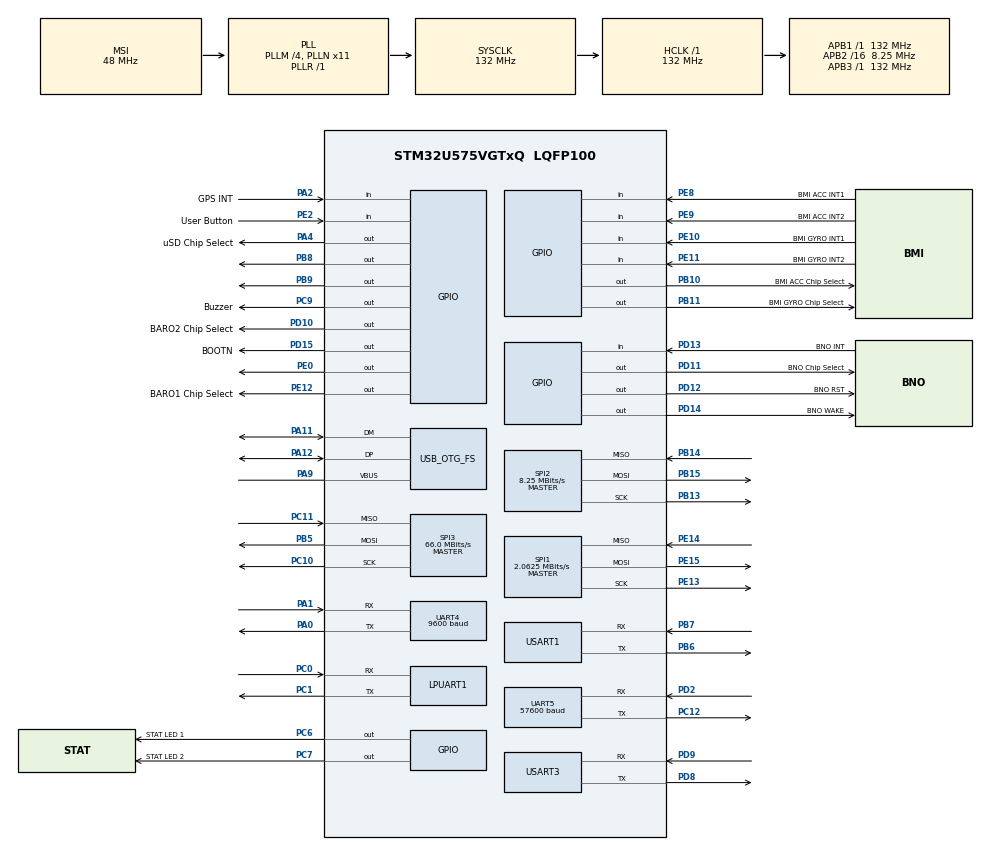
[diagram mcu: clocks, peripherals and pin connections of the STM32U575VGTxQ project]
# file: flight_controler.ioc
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CORTEX_M33_NS.userName=CORTEX_M33
Mcu.Family=STM32U5
Mcu.Name=STM32U575VGTxQ
Mcu.Package=LQFP100
NVIC.GPDMA1_Channel0_IRQn=true\:0\:0\:false\:false\:true\:true\:true\:true
NVIC.PriorityGroup=NVIC_PRIORITYGROUP_4
PA0.Mode=Asynchronous
PA0.Signal=UART4_TX
PA1.Mode=Asynchronous
PA1.Signal=UART4_RX
PA11.Mode=Device_Only
PA11.Signal=USB_OTG_FS_DM
PA12.Mode=Device_Only
PA12.Signal=USB_OTG_FS_DP
PA13\ (JTMS/SWDIO).Signal=DEBUG_JTMS-SWDIO
PA14\ (JTCK/SWCLK).Signal=DEBUG_JTCK-SWCLK
PA2.GPIO_Label=GPS INT
PA2.Signal=GPIO_Input
PA4.GPIO_Label=uSD Chip Select
PA4.Signal=GPIO_Output
PA9.Mode=Activate_VBUS
PA9.Signal=USB_OTG_FS_VBUS
PB10.GPIO_Label=BMI ACC Chip Select
PB10.Signal=GPIO_Output
PB11.GPIO_Label=BMI GYRO Chip Select
PB11.Signal=GPIO_Output
PB13.Mode=Full_Duplex_Master
PB13.Signal=SPI2_SCK
PB14.Mode=Full_Duplex_Master
PB14.Signal=SPI2_MISO
PB15.Mode=Full_Duplex_Master
PB15.Signal=SPI2_MOSI
PB5.Mode=Full_Duplex_Master
PB5.Signal=SPI3_MOSI
PB6.Mode=Asynchronous
PB6.Signal=USART1_TX
PB7.Mode=Asynchronous
PB7.Signal=USART1_RX
PB8.Signal=GPIO_Output
PB9.Signal=GPIO_Output
PC0.Mode=Asynchronous
PC0.Signal=LPUART1_RX
PC1.Mode=Asynchronous
PC1.Signal=LPUART1_TX
PC10.Mode=Full_Duplex_Master
PC10.Signal=SPI3_SCK
PC11.Mode=Full_Duplex_Master
PC11.Signal=SPI3_MISO
PC12.Mode=Asynchronous
PC12.Signal=UART5_TX
PC6.GPIO_Label=STAT LED 1
PC6.Signal=GPIO_Output
PC7.GPIO_Label=STAT LED 2
PC7.Signal=GPIO_Output
PC9.GPIO_Label=Buzzer
PC9.Signal=GPIO_Output
PD10.GPIO_Label=BARO2 Chip Select
PD10.Signal=GPIO_Output
PD11.GPIO_Label=BNO Chip Select
PD11.Signal=GPIO_Output
PD12.GPIO_Label=BNO RST
PD12.Signal=GPIO_Output
PD13.GPIO_Label=BNO INT
PD13.Signal=GPIO_Input
PD14.GPIO_Label=BNO WAKE
PD14.Signal=GPIO_Output
PD15.GPIO_Label=BOOTN
PD15.Signal=GPIO_Output
PD2.Mode=Asynchronous
PD2.Signal=UART5_RX
PD8.Mode=Asynchronous
PD8.Signal=USART3_TX
PD9.Mode=Asynchronous
PD9.Signal=USART3_RX
PE0.Signal=GPIO_Output
PE10.GPIO_Label=BMI GYRO INT1
PE10.Signal=GPIO_Input
PE11.GPIO_Label=BMI GYRO INT2
PE11.Signal=GPIO_Input
PE12.GPIO_Label=BARO1 Chip Select
PE12.Signal=GPIO_Output
PE13.Mode=Full_Duplex_Master
PE13.Signal=SPI1_SCK
PE14.Mode=Full_Duplex_Master
PE14.Signal=SPI1_MISO
PE15.Mode=Full_Duplex_Master
PE15.Signal=SPI1_MOSI
PE2.GPIO_Label=User Button
PE2.Signal=GPIO_Input
PE8.GPIO_Label=BMI ACC INT1
PE8.Signal=GPIO_Input
PE9.GPIO_Label=BMI ACC INT2
PE9.Signal=GPIO_Input
ProjectManager.HeapSize=0x200
ProjectManager.StackSize=0x400
ProjectManager.TargetToolchain=STM32CubeIDE
RCC.ADCFreq_Value=16000000
RCC.AHBFreq_Value=132000000
RCC.APB1Freq_Value=132000000
RCC.APB1TimFreq_Value=132000000
RCC.APB2CLKDivider=RCC_HCLK_DIV16
RCC.APB2Freq_Value=8250000
RCC.APB2TimFreq_Value=16500000
RCC.APB3Freq_Value=132000000
RCC.CortexFreq_Value=132000000
RCC.EPOD_VALUE=48000000
RCC.HCLKFreq_Value=132000000
RCC.HSE_VALUE=48000000
RCC.HSI48_VALUE=48000000
RCC.HSI_VALUE=16000000
RCC.LSE_VALUE=32768
RCC.LSIDIV_VALUE=32000
RCC.MSIClockRange=RCC_MSIRANGE_0
RCC.MSI_VALUE=48000000
RCC.PLL1R=1
RCC.PLL2FRACN=0
RCC.PLL3FRACN=0
RCC.PLLFRACN=0
RCC.PLLM=4
RCC.PLLN=11
RCC.SPI1CLockSelection=RCC_SPI1CLKSOURCE_PCLK2
RCC.SPI2CLockSelection=RCC_SPI2CLKSOURCE_PCLK1
RCC.SPI3CLockSelection=RCC_SPI3CLKSOURCE_PCLK3
RCC.SYSCLKFreq_VALUE=132000000
RCC.SYSCLKSource=RCC_SYSCLKSOURCE_PLLCLK
RCC.USBFreq_Value=48000000
RCC.VCOOutputFreq_Value=132000000
SPI1.BaudRatePrescaler=SPI_BAUDRATEPRESCALER_4
SPI1.CLKPolarity=SPI_POLARITY_LOW
SPI1.CalculateBaudRate=2.0625 MBits/s
SPI1.DataSize=SPI_DATASIZE_8BIT
SPI1.Direction=SPI_DIRECTION_2LINES
SPI1.FirstBit=SPI_FIRSTBIT_MSB
SPI1.Mode=SPI_MODE_MASTER
SPI1.NSSPMode=SPI_NSS_PULSE_DISABLE
SPI1.VirtualType=VM_MASTER
SPI2.BaudRatePrescaler=SPI_BAUDRATEPRESCALER_16
SPI2.CalculateBaudRate=8.25 MBits/s
SPI2.DataSize=SPI_DATASIZE_8BIT
SPI2.Direction=SPI_DIRECTION_2LINES
SPI2.Mode=SPI_MODE_MASTER
SPI2.NSSPMode=SPI_NSS_PULSE_DISABLE
SPI2.VirtualType=VM_MASTER
SPI3.BaudRatePrescaler=SPI_BAUDRATEPRESCALER_2
SPI3.CalculateBaudRate=66.0 MBits/s
SPI3.Direction=SPI_DIRECTION_2LINES
SPI3.Mode=SPI_MODE_MASTER
SPI3.VirtualType=VM_MASTER
UART4.BaudRate=9600
UART5.BaudRate=57600
USART1.VirtualMode-Asynchronous=VM_ASYNC
USART3.VirtualMode-Asynchronous=VM_ASYNC
USB_OTG_FS.VirtualMode=Device_Only
VP_GPDMA1_VS_GPDMACH0.Mode=SIMPLEREQUEST_GPDMACH0
VP_LPBAMQUEUE_VS_QUEUE.Mode=QUEUEMODE
VP_LPBAM_VS_SIG1.Mode=SmartRun
VP_LPBAM_VS_SIG4.Mode=LPDMA1
VP_MEMORYMAP_VS_MEMORYMAP.Mode=CurAppReg
VP_PWR_VS_SECSignals.Mode=Security/Privilege
board=custom

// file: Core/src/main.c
/* USER CODE BEGIN Header */
/**
  ******************************************************************************
  * @file           : main.c
  * @brief          : Main program body
  ******************************************************************************
  * @attention
  *
  * Copyright (c) 2025 STMicroelectronics.
  * All rights reserved.
  *
  * This software is licensed under terms that can be found in the LICENSE file
  * in the root directory of this software component.
  * If no LICENSE file comes with this software, it is provided AS-IS.
  *
  ******************************************************************************
  */
/* USER CODE END Header */
#include "main.h"

/* USER CODE BEGIN Includes */
#include "BMI088.h"
#include "list.h"
#include "barometer.h"
#include "RFD900x.h"
#include <string.h>
#include <stdio.h>
/* USER CODE END Includes */

DMA_HandleTypeDef handle_GPDMA1_Channel0;

UART_HandleTypeDef hlpuart1;
UART_HandleTypeDef huart4;
UART_HandleTypeDef huart5;
UART_HandleTypeDef huart1;
UART_HandleTypeDef huart3;

SPI_HandleTypeDef hspi1;
SPI_HandleTypeDef hspi2;
SPI_HandleTypeDef hspi3;

PCD_HandleTypeDef hpcd_USB_OTG_FS;

void SystemClock_Config(void);
static void MX_GPIO_Init(void);
static void MX_GPDMA1_Init(void);
static void MX_LPUART1_UART_Init(void);
static void MX_UART4_Init(void);
static void MX_UART5_Init(void);
static void MX_USART1_UART_Init(void);
static void MX_USART3_UART_Init(void);
static void MX_SPI1_Init(void);
static void MX_SPI2_Init(void);
static void MX_USB_OTG_FS_PCD_Init(void);
static void MX_SPI3_Init(void);

/* USER CODE BEGIN 0 */

void UART_SendString(UART_HandleTypeDef *huart, char *str)
{
    HAL_UART_Transmit(huart, (uint8_t *)str, strlen(str), HAL_MAX_DELAY);
}

void UART_SendNumber(UART_HandleTypeDef *huart, int number)
{
    char str[16];
    sprintf(str, "%d\r\n", number);
    UART_SendString(huart, str);
}

/* USER CODE END 0 */

int main(void)
{

  /* MCU Configuration--------------------------------------------------------*/

  /* Reset of all peripherals, Initializes the Flash interface and the Systick. */
  HAL_Init();

  /* Configure the system clock */
  SystemClock_Config();

  /* Initialize all configured peripherals */
  MX_GPIO_Init();
  MX_GPDMA1_Init();
  MX_LPUART1_UART_Init();
  MX_UART4_Init();
  MX_UART5_Init();
  MX_USART1_UART_Init();
  MX_USART3_UART_Init();
  MX_SPI1_Init();
  MX_SPI2_Init();
  MX_USB_OTG_FS_PCD_Init();
  MX_SPI3_Init();
  /* USER CODE BEGIN 2 */

//  HAL_GPIO_WritePin(GPIOC, GPIO_PIN_7, GPIO_PIN_SET);
  HAL_GPIO_WritePin(BMI_ACC_Chip_Select_GPIO_Port, BMI_ACC_Chip_Select_Pin, GPIO_PIN_SET);
  HAL_GPIO_WritePin(BMI_GYRO_Chip_Select_GPIO_Port, BMI_ACC_Chip_Select_Pin, GPIO_PIN_SET);

  HAL_GPIO_WritePin(BARO1_Chip_Select_GPIO_Port, BARO1_Chip_Select_Pin, GPIO_PIN_SET);

  uint32_t bmi088_config_flags = (1 << accelerometer_enable);
  BMI088_t* bmi088_imu = config_BMI088(bmi088_config_flags, &hspi1);

  MS5611_t* barometer = config_MS5611_barometer((1 << enable_pressure_reading), &hspi1);

  RFD900_t* radio = init_rfd900(&huart5);

  uint8_t UBX_VALSET[] = {
      0xB5, 0x62, 0x06, 0x8A, 0x0A, 0x00, 0x01, 0x00, 0x00, 0x00, 0x30, 0x21, 0x00, 0x01, 0xC8, 0x00, 0x4B, 0x07
  };

  HAL_UART_Transmit(&huart4, UBX_VALSET, sizeof(UBX_VALSET), HAL_MAX_DELAY);
  HAL_Delay(1000);

  uint8_t c;
  //buzz 5 times

//  for(int i = 0; i < 5; i++) {
//	  uint32_t buzz_times = 300;
//	  uint32_t j = 0;
//
//	  while(j < buzz_times) {
//		  HAL_GPIO_WritePin(GPIOC, GPIO_PIN_9, GPIO_PIN_SET);
//		  HAL_Delay(1);
//		  HAL_GPIO_WritePin(GPIOC, GPIO_PIN_9, GPIO_PIN_RESET);
//		  HAL_Delay(1);
//		  j++;
//	  }
//
//	  HAL_Delay(1000);
//  }
  /* USER CODE END 2 */

  /* Infinite loop */
  while (1)
  {

    /* USER CODE BEGIN 3 */

	  //there is a bug where the first value sent is not correct

	  UART_SendString(radio->uart_handle, "sensor time: ");
	  UART_SendNumber(radio->uart_handle, *(bmi088_imu->sensor_time));

	  UART_SendString(radio->uart_handle, "accel x: ");
	  UART_SendNumber(radio->uart_handle, bmi088_imu->acc_x[bmi088_imu->acc_iterator]);

	  UART_SendString(radio->uart_handle, "accel y: ");
	  UART_SendNumber(radio->uart_handle, bmi088_imu->acc_y[bmi088_imu->acc_iterator]);

	  UART_SendString(radio->uart_handle, "accel z: ");
	  UART_SendNumber(radio->uart_handle, bmi088_imu->acc_z[bmi088_imu->acc_iterator]);

	  UART_SendString(radio->uart_handle, "gyro x: ");
	  UART_SendNumber(radio->uart_handle, bmi088_imu->gyro_x[bmi088_imu->gyro_iterator]);

	  UART_SendString(radio->uart_handle, "gyro y: ");
	  UART_SendNumber(radio->uart_handle, bmi088_imu->gyro_y[bmi088_imu->gyro_iterator]);

	  UART_SendString(radio->uart_handle, "gyro z: ");
	  UART_SendNumber(radio->uart_handle, bmi088_imu->gyro_z[bmi088_imu->gyro_iterator]);

	  UART_SendString(radio->uart_handle, "barometer: ");
	  UART_SendNumber(radio->uart_handle, barometer->baro_pressure_data_corrected);

	  update_BMI088_stream(bmi088_imu);
	  read_timer_BMI088(bmi088_imu);
	  read_from_barometer(barometer);

	  HAL_UART_Receive(&huart4, &c, 1, 3000);
	  	  if (c == '$') {
	  		  // Read the first five characters, only proceed if GNGLL is found
	  		  char NMEA_ReturnType[6] = {};
	  		  HAL_UART_Receive(&huart4, (int8_t*)NMEA_ReturnType, 5, 3000);
	  		  // Make this a string
	  		  NMEA_ReturnType[5] = '\0';
	  //		  HAL_UART_Transmit(&hlpuart1, (int8_t *) NMEA_ReturnType, strlen(NMEA_ReturnType), 3000);

	  		  if (strcmp(NMEA_ReturnType, "GNRMC") == 0) {

	  			  char LL_Readings[128];
	  			  uint8_t temp;
	  			  int counter = 0;
	  			  HAL_UART_Receive(&huart4, &temp, 1, 3000);
	  			  LL_Readings[counter] = temp;
	  			  counter++;

	  //			  HAL_UART_Transmit(&hlpuart1, &temp, 1, 3000);
	  //			  HAL_UART_Transmit(&hlpuart1, (uint8_t*)buff, strlen(buff), HAL_MAX_DELAY);
	  			  while (temp != '\n') {
	  				  HAL_UART_Receive(&huart4, &temp, 1, HAL_MAX_DELAY);
	  				  LL_Readings[counter] = temp;
	  				  counter++;
	  			  }
	  			  LL_Readings[counter] = '\0';

	  			  char space[64];
	  			  sprintf(space, "\nTime and location readings: ");
	  			  HAL_UART_Transmit(&hlpuart1, (uint8_t *)space, strlen(space), 3000);
	  			  HAL_UART_Transmit(&hlpuart1, (uint8_t *)LL_Readings, strlen(LL_Readings), 3000);

	  		  }
	  	  }

	  	HAL_GPIO_WritePin(GPIOC, GPIO_PIN_7, GPIO_PIN_RESET);
	  	HAL_Delay(500);
	    HAL_GPIO_WritePin(GPIOC, GPIO_PIN_7, GPIO_PIN_SET);
	    HAL_Delay(500);

//	  uint8_t tx = 0xAB;
//	  uint8_t rx = 0x00;
//	  HAL_GPIO_WritePin(BARO1_Chip_Select_GPIO_Port, BARO1_Chip_Select_Pin, GPIO_PIN_RESET);
//
//	  HAL_SPI_Transmit(&hspi1, &tx, 1, HAL_MAX_DELAY);
//
//	  for(int i = 0; i < 3; i++) {
//		  HAL_SPI_Receive(&hspi1, &rx, 1, HAL_MAX_DELAY);
//	  }
//
//	  HAL_GPIO_WritePin(BARO1_Chip_Select_GPIO_Port, BARO1_Chip_Select_Pin, GPIO_PIN_SET);
//	  HAL_Delay(1000);
//
//	  HAL_GPIO_WritePin(BARO1_Chip_Select_GPIO_Port, BARO1_Chip_Select_Pin, GPIO_PIN_RESET);
//
//	  HAL_SPI_Transmit(&hspi1, &tx, 1, HAL_MAX_DELAY);
//
//	  for(int i = 0; i < 3; i++) {
//		  HAL_SPI_Receive(&hspi1, &rx, 1, HAL_MAX_DELAY);
//	  }
//
//	  HAL_GPIO_WritePin(BARO1_Chip_Select_GPIO_Port, BARO1_Chip_Select_Pin, GPIO_PIN_SET);
//	  HAL_GPIO_WritePin(GPIOB, GPIO_PIN_6, GPIO_PIN_SET);
//	  HAL_Delay(1000);
//	  HAL_GPIO_WritePin(GPIOB, GPIO_PIN_6, GPIO_PIN_RESET);
//
//	  HAL_GPIO_WritePin(BARO2_Chip_Select_GPIO_Port, BARO2_Chip_Select_Pin, GPIO_PIN_RESET);
//
//	  HAL_SPI_Transmit(&hspi2, &tx, 1, HAL_MAX_DELAY);
//
//	  	  for(int i = 0; i < 3; i++) {
//	  		  HAL_SPI_Receive(&hspi2, &rx, 1, HAL_MAX_DELAY);
//	  	  }
//
//	  HAL_GPIO_WritePin(BARO2_Chip_Select_GPIO_Port, BARO2_Chip_Select_Pin, GPIO_PIN_SET);
  }
  /* USER CODE END 3 */
}

void SystemClock_Config(void)
{
  RCC_OscInitTypeDef RCC_OscInitStruct = {0};
  RCC_ClkInitTypeDef RCC_ClkInitStruct = {0};

  /** Configure the main internal regulator output voltage
  */
  if (HAL_PWREx_ControlVoltageScaling(PWR_REGULATOR_VOLTAGE_SCALE1) != HAL_OK)
  {
    Error_Handler();
  }

  /** Initializes the CPU, AHB and APB buses clocks
  */
  RCC_OscInitStruct.OscillatorType = RCC_OSCILLATORTYPE_HSI48|RCC_OSCILLATORTYPE_MSI;
  RCC_OscInitStruct.HSI48State = RCC_HSI48_ON;
  RCC_OscInitStruct.MSIState = RCC_MSI_ON;
  RCC_OscInitStruct.MSICalibrationValue = RCC_MSICALIBRATION_DEFAULT;
  RCC_OscInitStruct.MSIClockRange = RCC_MSIRANGE_0;
  RCC_OscInitStruct.PLL.PLLState = RCC_PLL_ON;
  RCC_OscInitStruct.PLL.PLLSource = RCC_PLLSOURCE_MSI;
  RCC_OscInitStruct.PLL.PLLMBOOST = RCC_PLLMBOOST_DIV4;
  RCC_OscInitStruct.PLL.PLLM = 4;
  RCC_OscInitStruct.PLL.PLLN = 11;
  RCC_OscInitStruct.PLL.PLLP = 2;
  RCC_OscInitStruct.PLL.PLLQ = 2;
  RCC_OscInitStruct.PLL.PLLR = 1;
  RCC_OscInitStruct.PLL.PLLRGE = RCC_PLLVCIRANGE_1;
  RCC_OscInitStruct.PLL.PLLFRACN = 0;
  if (HAL_RCC_OscConfig(&RCC_OscInitStruct) != HAL_OK)
  {
    Error_Handler();
  }

  /** Initializes the CPU, AHB and APB buses clocks
  */
  RCC_ClkInitStruct.ClockType = RCC_CLOCKTYPE_HCLK|RCC_CLOCKTYPE_SYSCLK
                              |RCC_CLOCKTYPE_PCLK1|RCC_CLOCKTYPE_PCLK2
                              |RCC_CLOCKTYPE_PCLK3;
  RCC_ClkInitStruct.SYSCLKSource = RCC_SYSCLKSOURCE_PLLCLK;
  RCC_ClkInitStruct.AHBCLKDivider = RCC_SYSCLK_DIV1;
  RCC_ClkInitStruct.APB1CLKDivider = RCC_HCLK_DIV1;
  RCC_ClkInitStruct.APB2CLKDivider = RCC_HCLK_DIV16;
  RCC_ClkInitStruct.APB3CLKDivider = RCC_HCLK_DIV1;

  if (HAL_RCC_ClockConfig(&RCC_ClkInitStruct, FLASH_LATENCY_4) != HAL_OK)
  {
    Error_Handler();
  }
}

static void MX_GPDMA1_Init(void)
{

  /* Peripheral clock enable */
  __HAL_RCC_GPDMA1_CLK_ENABLE();

  /* GPDMA1 interrupt Init */
    HAL_NVIC_SetPriority(GPDMA1_Channel0_IRQn, 0, 0);
    HAL_NVIC_EnableIRQ(GPDMA1_Channel0_IRQn);

  handle_GPDMA1_Channel0.Instance = GPDMA1_Channel0;
  handle_GPDMA1_Channel0.Init.Request = DMA_REQUEST_SW;
  handle_GPDMA1_Channel0.Init.BlkHWRequest = DMA_BREQ_SINGLE_BURST;
  handle_GPDMA1_Channel0.Init.Direction = DMA_MEMORY_TO_MEMORY;
  handle_GPDMA1_Channel0.Init.SrcInc = DMA_SINC_FIXED;
  handle_GPDMA1_Channel0.Init.DestInc = DMA_DINC_FIXED;
  handle_GPDMA1_Channel0.Init.SrcDataWidth = DMA_SRC_DATAWIDTH_BYTE;
  handle_GPDMA1_Channel0.Init.DestDataWidth = DMA_DEST_DATAWIDTH_BYTE;
  handle_GPDMA1_Channel0.Init.Priority = DMA_LOW_PRIORITY_LOW_WEIGHT;
  handle_GPDMA1_Channel0.Init.SrcBurstLength = 1;
  handle_GPDMA1_Channel0.Init.DestBurstLength = 1;
  handle_GPDMA1_Channel0.Init.TransferAllocatedPort = DMA_SRC_ALLOCATED_PORT0|DMA_DEST_ALLOCATED_PORT0;
  handle_GPDMA1_Channel0.Init.TransferEventMode = DMA_TCEM_BLOCK_TRANSFER;
  handle_GPDMA1_Channel0.Init.Mode = DMA_NORMAL;
  if (HAL_DMA_Init(&handle_GPDMA1_Channel0) != HAL_OK)
  {
    Error_Handler();
  }
  if (HAL_DMA_ConfigChannelAttributes(&handle_GPDMA1_Channel0, DMA_CHANNEL_NPRIV) != HAL_OK)
  {
    Error_Handler();
  }

}

static void MX_LPUART1_UART_Init(void)
{

  hlpuart1.Instance = LPUART1;
  hlpuart1.Init.BaudRate = 209700;
  hlpuart1.Init.WordLength = UART_WORDLENGTH_8B;
  hlpuart1.Init.StopBits = UART_STOPBITS_1;
  hlpuart1.Init.Parity = UART_PARITY_NONE;
  hlpuart1.Init.Mode = UART_MODE_TX_RX;
  hlpuart1.Init.HwFlowCtl = UART_HWCONTROL_NONE;
  hlpuart1.Init.OneBitSampling = UART_ONE_BIT_SAMPLE_DISABLE;
  hlpuart1.AdvancedInit.AdvFeatureInit = UART_ADVFEATURE_NO_INIT;
  hlpuart1.FifoMode = UART_FIFOMODE_DISABLE;
  if (HAL_UART_Init(&hlpuart1) != HAL_OK)
  {
    Error_Handler();
  }
  if (HAL_UARTEx_SetTxFifoThreshold(&hlpuart1, UART_TXFIFO_THRESHOLD_1_8) != HAL_OK)
  {
    Error_Handler();
  }
  if (HAL_UARTEx_SetRxFifoThreshold(&hlpuart1, UART_RXFIFO_THRESHOLD_1_8) != HAL_OK)
  {
    Error_Handler();
  }
  if (HAL_UARTEx_DisableFifoMode(&hlpuart1) != HAL_OK)
  {
    Error_Handler();
  }

}

static void MX_UART4_Init(void)
{

  huart4.Instance = UART4;
  huart4.Init.BaudRate = 9600;
  huart4.Init.WordLength = UART_WORDLENGTH_8B;
  huart4.Init.StopBits = UART_STOPBITS_1;
  huart4.Init.Parity = UART_PARITY_NONE;
  huart4.Init.Mode = UART_MODE_TX_RX;
  huart4.Init.HwFlowCtl = UART_HWCONTROL_NONE;
  huart4.Init.OverSampling = UART_OVERSAMPLING_16;
  huart4.Init.OneBitSampling = UART_ONE_BIT_SAMPLE_DISABLE;
  huart4.Init.ClockPrescaler = UART_PRESCALER_DIV1;
  huart4.AdvancedInit.AdvFeatureInit = UART_ADVFEATURE_NO_INIT;
  if (HAL_UART_Init(&huart4) != HAL_OK)
  {
    Error_Handler();
  }
  if (HAL_UARTEx_SetTxFifoThreshold(&huart4, UART_TXFIFO_THRESHOLD_1_8) != HAL_OK)
  {
    Error_Handler();
  }
  if (HAL_UARTEx_SetRxFifoThreshold(&huart4, UART_RXFIFO_THRESHOLD_1_8) != HAL_OK)
  {
    Error_Handler();
  }
  if (HAL_UARTEx_DisableFifoMode(&huart4) != HAL_OK)
  {
    Error_Handler();
  }

}

static void MX_UART5_Init(void)
{

  huart5.Instance = UART5;
  huart5.Init.BaudRate = 57600;
  huart5.Init.WordLength = UART_WORDLENGTH_8B;
  huart5.Init.StopBits = UART_STOPBITS_1;
  huart5.Init.Parity = UART_PARITY_NONE;
  huart5.Init.Mode = UART_MODE_TX_RX;
  huart5.Init.HwFlowCtl = UART_HWCONTROL_NONE;
  huart5.Init.OverSampling = UART_OVERSAMPLING_16;
  huart5.Init.OneBitSampling = UART_ONE_BIT_SAMPLE_DISABLE;
  huart5.Init.ClockPrescaler = UART_PRESCALER_DIV1;
  huart5.AdvancedInit.AdvFeatureInit = UART_ADVFEATURE_NO_INIT;
  if (HAL_UART_Init(&huart5) != HAL_OK)
  {
    Error_Handler();
  }
  if (HAL_UARTEx_SetTxFifoThreshold(&huart5, UART_TXFIFO_THRESHOLD_1_8) != HAL_OK)
  {
    Error_Handler();
  }
  if (HAL_UARTEx_SetRxFifoThreshold(&huart5, UART_RXFIFO_THRESHOLD_1_8) != HAL_OK)
  {
    Error_Handler();
  }
  if (HAL_UARTEx_DisableFifoMode(&huart5) != HAL_OK)
  {
    Error_Handler();
  }

}

static void MX_USART1_UART_Init(void)
{

  huart1.Instance = USART1;
  huart1.Init.BaudRate = 115200;
  huart1.Init.WordLength = UART_WORDLENGTH_8B;
  huart1.Init.StopBits = UART_STOPBITS_1;
  huart1.Init.Parity = UART_PARITY_NONE;
  huart1.Init.Mode = UART_MODE_TX_RX;
  huart1.Init.HwFlowCtl = UART_HWCONTROL_NONE;
  huart1.Init.OverSampling = UART_OVERSAMPLING_16;
  huart1.Init.OneBitSampling = UART_ONE_BIT_SAMPLE_DISABLE;
  huart1.Init.ClockPrescaler = UART_PRESCALER_DIV1;
  huart1.AdvancedInit.AdvFeatureInit = UART_ADVFEATURE_NO_INIT;
  if (HAL_UART_Init(&huart1) != HAL_OK)
  {
    Error_Handler();
  }
  if (HAL_UARTEx_SetTxFifoThreshold(&huart1, UART_TXFIFO_THRESHOLD_1_8) != HAL_OK)
  {
    Error_Handler();
  }
  if (HAL_UARTEx_SetRxFifoThreshold(&huart1, UART_RXFIFO_THRESHOLD_1_8) != HAL_OK)
  {
    Error_Handler();
  }
  if (HAL_UARTEx_DisableFifoMode(&huart1) != HAL_OK)
  {
    Error_Handler();
  }

}

static void MX_USART3_UART_Init(void)
{

  huart3.Instance = USART3;
  huart3.Init.BaudRate = 115200;
  huart3.Init.WordLength = UART_WORDLENGTH_8B;
  huart3.Init.StopBits = UART_STOPBITS_1;
  huart3.Init.Parity = UART_PARITY_NONE;
  huart3.Init.Mode = UART_MODE_TX_RX;
  huart3.Init.HwFlowCtl = UART_HWCONTROL_NONE;
  huart3.Init.OverSampling = UART_OVERSAMPLING_16;
  huart3.Init.OneBitSampling = UART_ONE_BIT_SAMPLE_DISABLE;
  huart3.Init.ClockPrescaler = UART_PRESCALER_DIV1;
  huart3.AdvancedInit.AdvFeatureInit = UART_ADVFEATURE_NO_INIT;
  if (HAL_UART_Init(&huart3) != HAL_OK)
  {
    Error_Handler();
  }
  if (HAL_UARTEx_SetTxFifoThreshold(&huart3, UART_TXFIFO_THRESHOLD_1_8) != HAL_OK)
  {
    Error_Handler();
  }
  if (HAL_UARTEx_SetRxFifoThreshold(&huart3, UART_RXFIFO_THRESHOLD_1_8) != HAL_OK)
  {
    Error_Handler();
  }
  if (HAL_UARTEx_DisableFifoMode(&huart3) != HAL_OK)
  {
    Error_Handler();
  }

}

static void MX_SPI1_Init(void)
{

  SPI_AutonomousModeConfTypeDef HAL_SPI_AutonomousMode_Cfg_Struct = {0};

  /* SPI1 parameter configuration*/
  hspi1.Instance = SPI1;
  hspi1.Init.Mode = SPI_MODE_MASTER;
  hspi1.Init.Direction = SPI_DIRECTION_2LINES;
  hspi1.Init.DataSize = SPI_DATASIZE_8BIT;
  hspi1.Init.CLKPolarity = SPI_POLARITY_LOW;
  hspi1.Init.CLKPhase = SPI_PHASE_1EDGE;
  hspi1.Init.NSS = SPI_NSS_SOFT;
  hspi1.Init.BaudRatePrescaler = SPI_BAUDRATEPRESCALER_4;
  hspi1.Init.FirstBit = SPI_FIRSTBIT_MSB;
  hspi1.Init.TIMode = SPI_TIMODE_DISABLE;
  hspi1.Init.CRCCalculation = SPI_CRCCALCULATION_DISABLE;
  hspi1.Init.CRCPolynomial = 0x7;
  hspi1.Init.NSSPMode = SPI_NSS_PULSE_DISABLE;
  hspi1.Init.NSSPolarity = SPI_NSS_POLARITY_LOW;
  hspi1.Init.FifoThreshold = SPI_FIFO_THRESHOLD_01DATA;
  hspi1.Init.MasterSSIdleness = SPI_MASTER_SS_IDLENESS_00CYCLE;
  hspi1.Init.MasterInterDataIdleness = SPI_MASTER_INTERDATA_IDLENESS_00CYCLE;
  hspi1.Init.MasterReceiverAutoSusp = SPI_MASTER_RX_AUTOSUSP_DISABLE;
  hspi1.Init.MasterKeepIOState = SPI_MASTER_KEEP_IO_STATE_DISABLE;
  hspi1.Init.IOSwap = SPI_IO_SWAP_DISABLE;
  hspi1.Init.ReadyMasterManagement = SPI_RDY_MASTER_MANAGEMENT_INTERNALLY;
  hspi1.Init.ReadyPolarity = SPI_RDY_POLARITY_HIGH;
  if (HAL_SPI_Init(&hspi1) != HAL_OK)
  {
    Error_Handler();
  }
  HAL_SPI_AutonomousMode_Cfg_Struct.TriggerState = SPI_AUTO_MODE_DISABLE;
  HAL_SPI_AutonomousMode_Cfg_Struct.TriggerSelection = SPI_GRP1_GPDMA_CH0_TCF_TRG;
  HAL_SPI_AutonomousMode_Cfg_Struct.TriggerPolarity = SPI_TRIG_POLARITY_RISING;
  if (HAL_SPIEx_SetConfigAutonomousMode(&hspi1, &HAL_SPI_AutonomousMode_Cfg_Struct) != HAL_OK)
  {
    Error_Handler();
  }

}

static void MX_SPI2_Init(void)
{

  SPI_AutonomousModeConfTypeDef HAL_SPI_AutonomousMode_Cfg_Struct = {0};

  /* SPI2 parameter configuration*/
  hspi2.Instance = SPI2;
  hspi2.Init.Mode = SPI_MODE_MASTER;
  hspi2.Init.Direction = SPI_DIRECTION_2LINES;
  hspi2.Init.DataSize = SPI_DATASIZE_8BIT;
  hspi2.Init.CLKPolarity = SPI_POLARITY_LOW;
  hspi2.Init.CLKPhase = SPI_PHASE_1EDGE;
  hspi2.Init.NSS = SPI_NSS_SOFT;
  hspi2.Init.BaudRatePrescaler = SPI_BAUDRATEPRESCALER_16;
  hspi2.Init.FirstBit = SPI_FIRSTBIT_MSB;
  hspi2.Init.TIMode = SPI_TIMODE_DISABLE;
  hspi2.Init.CRCCalculation = SPI_CRCCALCULATION_DISABLE;
  hspi2.Init.CRCPolynomial = 0x7;
  hspi2.Init.NSSPMode = SPI_NSS_PULSE_DISABLE;
  hspi2.Init.NSSPolarity = SPI_NSS_POLARITY_LOW;
  hspi2.Init.FifoThreshold = SPI_FIFO_THRESHOLD_01DATA;
  hspi2.Init.MasterSSIdleness = SPI_MASTER_SS_IDLENESS_00CYCLE;
  hspi2.Init.MasterInterDataIdleness = SPI_MASTER_INTERDATA_IDLENESS_00CYCLE;
  hspi2.Init.MasterReceiverAutoSusp = SPI_MASTER_RX_AUTOSUSP_DISABLE;
  hspi2.Init.MasterKeepIOState = SPI_MASTER_KEEP_IO_STATE_DISABLE;
  hspi2.Init.IOSwap = SPI_IO_SWAP_DISABLE;
  hspi2.Init.ReadyMasterManagement = SPI_RDY_MASTER_MANAGEMENT_INTERNALLY;
  hspi2.Init.ReadyPolarity = SPI_RDY_POLARITY_HIGH;
  if (HAL_SPI_Init(&hspi2) != HAL_OK)
  {
    Error_Handler();
  }
  HAL_SPI_AutonomousMode_Cfg_Struct.TriggerState = SPI_AUTO_MODE_DISABLE;
  HAL_SPI_AutonomousMode_Cfg_Struct.TriggerSelection = SPI_GRP1_GPDMA_CH0_TCF_TRG;
  HAL_SPI_AutonomousMode_Cfg_Struct.TriggerPolarity = SPI_TRIG_POLARITY_RISING;
  if (HAL_SPIEx_SetConfigAutonomousMode(&hspi2, &HAL_SPI_AutonomousMode_Cfg_Struct) != HAL_OK)
  {
    Error_Handler();
  }

}

static void MX_SPI3_Init(void)
{

  SPI_AutonomousModeConfTypeDef HAL_SPI_AutonomousMode_Cfg_Struct = {0};

  /* SPI3 parameter configuration*/
  hspi3.Instance = SPI3;
  hspi3.Init.Mode = SPI_MODE_MASTER;
  hspi3.Init.Direction = SPI_DIRECTION_2LINES;
  hspi3.Init.DataSize = SPI_DATASIZE_8BIT;
  hspi3.Init.CLKPolarity = SPI_POLARITY_LOW;
  hspi3.Init.CLKPhase = SPI_PHASE_1EDGE;
  hspi3.Init.NSS = SPI_NSS_SOFT;
  hspi3.Init.BaudRatePrescaler = SPI_BAUDRATEPRESCALER_2;
  hspi3.Init.FirstBit = SPI_FIRSTBIT_MSB;
  hspi3.Init.TIMode = SPI_TIMODE_DISABLE;
  hspi3.Init.CRCCalculation = SPI_CRCCALCULATION_DISABLE;
  hspi3.Init.CRCPolynomial = 0x7;
  hspi3.Init.NSSPMode = SPI_NSS_PULSE_ENABLE;
  hspi3.Init.NSSPolarity = SPI_NSS_POLARITY_LOW;
  hspi3.Init.FifoThreshold = SPI_FIFO_THRESHOLD_01DATA;
  hspi3.Init.MasterSSIdleness = SPI_MASTER_SS_IDLENESS_00CYCLE;
  hspi3.Init.MasterInterDataIdleness = SPI_MASTER_INTERDATA_IDLENESS_00CYCLE;
  hspi3.Init.MasterReceiverAutoSusp = SPI_MASTER_RX_AUTOSUSP_DISABLE;
  hspi3.Init.MasterKeepIOState = SPI_MASTER_KEEP_IO_STATE_DISABLE;
  hspi3.Init.IOSwap = SPI_IO_SWAP_DISABLE;
  hspi3.Init.ReadyMasterManagement = SPI_RDY_MASTER_MANAGEMENT_INTERNALLY;
  hspi3.Init.ReadyPolarity = SPI_RDY_POLARITY_HIGH;
  if (HAL_SPI_Init(&hspi3) != HAL_OK)
  {
    Error_Handler();
  }
  HAL_SPI_AutonomousMode_Cfg_Struct.TriggerState = SPI_AUTO_MODE_DISABLE;
  HAL_SPI_AutonomousMode_Cfg_Struct.TriggerSelection = SPI_GRP2_LPDMA_CH0_TCF_TRG;
  HAL_SPI_AutonomousMode_Cfg_Struct.TriggerPolarity = SPI_TRIG_POLARITY_RISING;
  if (HAL_SPIEx_SetConfigAutonomousMode(&hspi3, &HAL_SPI_AutonomousMode_Cfg_Struct) != HAL_OK)
  {
    Error_Handler();
  }

}

static void MX_USB_OTG_FS_PCD_Init(void)
{

  hpcd_USB_OTG_FS.Instance = USB_OTG_FS;
  hpcd_USB_OTG_FS.Init.dev_endpoints = 6;
  hpcd_USB_OTG_FS.Init.speed = PCD_SPEED_FULL;
  hpcd_USB_OTG_FS.Init.phy_itface = PCD_PHY_EMBEDDED;
  hpcd_USB_OTG_FS.Init.Sof_enable = DISABLE;
  hpcd_USB_OTG_FS.Init.low_power_enable = DISABLE;
  hpcd_USB_OTG_FS.Init.lpm_enable = DISABLE;
  hpcd_USB_OTG_FS.Init.battery_charging_enable = ENABLE;
  hpcd_USB_OTG_FS.Init.use_dedicated_ep1 = DISABLE;
  hpcd_USB_OTG_FS.Init.vbus_sensing_enable = ENABLE;
  hpcd_USB_OTG_FS.Init.dma_enable = DISABLE;
  if (HAL_PCD_Init(&hpcd_USB_OTG_FS) != HAL_OK)
  {
    Error_Handler();
  }

}

static void MX_GPIO_Init(void)
{
  GPIO_InitTypeDef GPIO_InitStruct = {0};

  /* GPIO Ports Clock Enable */
  __HAL_RCC_GPIOE_CLK_ENABLE();
  __HAL_RCC_GPIOC_CLK_ENABLE();
  __HAL_RCC_GPIOA_CLK_ENABLE();
  __HAL_RCC_GPIOB_CLK_ENABLE();
  __HAL_RCC_GPIOD_CLK_ENABLE();

  /*Configure GPIO pin Output Level */
  HAL_GPIO_WritePin(uSD_Chip_Select_GPIO_Port, uSD_Chip_Select_Pin, GPIO_PIN_RESET);

  /*Configure GPIO pin Output Level */
  HAL_GPIO_WritePin(GPIOE, BARO1_Chip_Select_Pin|GPIO_PIN_0, GPIO_PIN_RESET);

  /*Configure GPIO pin Output Level */
  HAL_GPIO_WritePin(GPIOB, BMI_ACC_Chip_Select_Pin|BMI_GYRO_Chip_Select_Pin|GPIO_PIN_8|GPIO_PIN_9, GPIO_PIN_RESET);

  /*Configure GPIO pin Output Level */
  HAL_GPIO_WritePin(GPIOD, BARO2_Chip_Select_Pin|BNO_Chip_Select_Pin|BNO_RST_Pin|BNO_WAKE_Pin
                          |BOOTN_Pin, GPIO_PIN_RESET);

  /*Configure GPIO pin Output Level */
  HAL_GPIO_WritePin(GPIOC, STAT_LED_1_Pin|STAT_LED_2_Pin|Buzzer_Pin, GPIO_PIN_RESET);

  /*Configure GPIO pins : User_Button_Pin BMI_ACC_INT1_Pin BMI_ACC_INT2_Pin BMI_GYRO_INT1_Pin
                           BMI_GYRO_INT2_Pin */
  GPIO_InitStruct.Pin = User_Button_Pin|BMI_ACC_INT1_Pin|BMI_ACC_INT2_Pin|BMI_GYRO_INT1_Pin
                          |BMI_GYRO_INT2_Pin;
  GPIO_InitStruct.Mode = GPIO_MODE_INPUT;
  GPIO_InitStruct.Pull = GPIO_NOPULL;
  HAL_GPIO_Init(GPIOE, &GPIO_InitStruct);

  /*Configure GPIO pin : GPS_INT_Pin */
  GPIO_InitStruct.Pin = GPS_INT_Pin;
  GPIO_InitStruct.Mode = GPIO_MODE_INPUT;
  GPIO_InitStruct.Pull = GPIO_NOPULL;
  HAL_GPIO_Init(GPS_INT_GPIO_Port, &GPIO_InitStruct);

  /*Configure GPIO pin : uSD_Chip_Select_Pin */
  GPIO_InitStruct.Pin = uSD_Chip_Select_Pin;
  GPIO_InitStruct.Mode = GPIO_MODE_OUTPUT_PP;
  GPIO_InitStruct.Pull = GPIO_NOPULL;
  GPIO_InitStruct.Speed = GPIO_SPEED_FREQ_LOW;
  HAL_GPIO_Init(uSD_Chip_Select_GPIO_Port, &GPIO_InitStruct);

  /*Configure GPIO pins : BARO1_Chip_Select_Pin PE0 */
  GPIO_InitStruct.Pin = BARO1_Chip_Select_Pin|GPIO_PIN_0;
  GPIO_InitStruct.Mode = GPIO_MODE_OUTPUT_PP;
  GPIO_InitStruct.Pull = GPIO_NOPULL;
  GPIO_InitStruct.Speed = GPIO_SPEED_FREQ_LOW;
  HAL_GPIO_Init(GPIOE, &GPIO_InitStruct);

  /*Configure GPIO pins : BMI_ACC_Chip_Select_Pin BMI_GYRO_Chip_Select_Pin PB8 PB9 */
  GPIO_InitStruct.Pin = BMI_ACC_Chip_Select_Pin|BMI_GYRO_Chip_Select_Pin|GPIO_PIN_8|GPIO_PIN_9;
  GPIO_InitStruct.Mode = GPIO_MODE_OUTPUT_PP;
  GPIO_InitStruct.Pull = GPIO_NOPULL;
  GPIO_InitStruct.Speed = GPIO_SPEED_FREQ_LOW;
  HAL_GPIO_Init(GPIOB, &GPIO_InitStruct);

  /*Configure GPIO pins : BARO2_Chip_Select_Pin BNO_Chip_Select_Pin BNO_RST_Pin BNO_WAKE_Pin
                           BOOTN_Pin */
  GPIO_InitStruct.Pin = BARO2_Chip_Select_Pin|BNO_Chip_Select_Pin|BNO_RST_Pin|BNO_WAKE_Pin
                          |BOOTN_Pin;
  GPIO_InitStruct.Mode = GPIO_MODE_OUTPUT_PP;
  GPIO_InitStruct.Pull = GPIO_NOPULL;
  GPIO_InitStruct.Speed = GPIO_SPEED_FREQ_LOW;
  HAL_GPIO_Init(GPIOD, &GPIO_InitStruct);

  /*Configure GPIO pin : BNO_INT_Pin */
  GPIO_InitStruct.Pin = BNO_INT_Pin;
  GPIO_InitStruct.Mode = GPIO_MODE_INPUT;
  GPIO_InitStruct.Pull = GPIO_NOPULL;
  HAL_GPIO_Init(BNO_INT_GPIO_Port, &GPIO_InitStruct);

  /*Configure GPIO pins : STAT_LED_1_Pin STAT_LED_2_Pin Buzzer_Pin */
  GPIO_InitStruct.Pin = STAT_LED_1_Pin|STAT_LED_2_Pin|Buzzer_Pin;
  GPIO_InitStruct.Mode = GPIO_MODE_OUTPUT_PP;
  GPIO_InitStruct.Pull = GPIO_NOPULL;
  GPIO_InitStruct.Speed = GPIO_SPEED_FREQ_LOW;
  HAL_GPIO_Init(GPIOC, &GPIO_InitStruct);

}

void Error_Handler(void)
{
  /* USER CODE BEGIN Error_Handler_Debug */
  /* User can add his own implementation to report the HAL error return state */
  __disable_irq();
  for(int i = 0; i < 3; i++) {
	  uint32_t buzz_times = 6000;
	  uint32_t j = 0;

	  while(j < buzz_times) {
		  HAL_GPIO_WritePin(GPIOC, GPIO_PIN_9, GPIO_PIN_SET);
		  HAL_Delay(1);
		  HAL_GPIO_WritePin(GPIOC, GPIO_PIN_9, GPIO_PIN_RESET);
		  HAL_Delay(1);
		  j++;
	  }

	  HAL_Delay(1000);
  }

  	HAL_NVIC_SystemReset();

//  while (1)
//  {
//  }
  /* USER CODE END Error_Handler_Debug */
}
